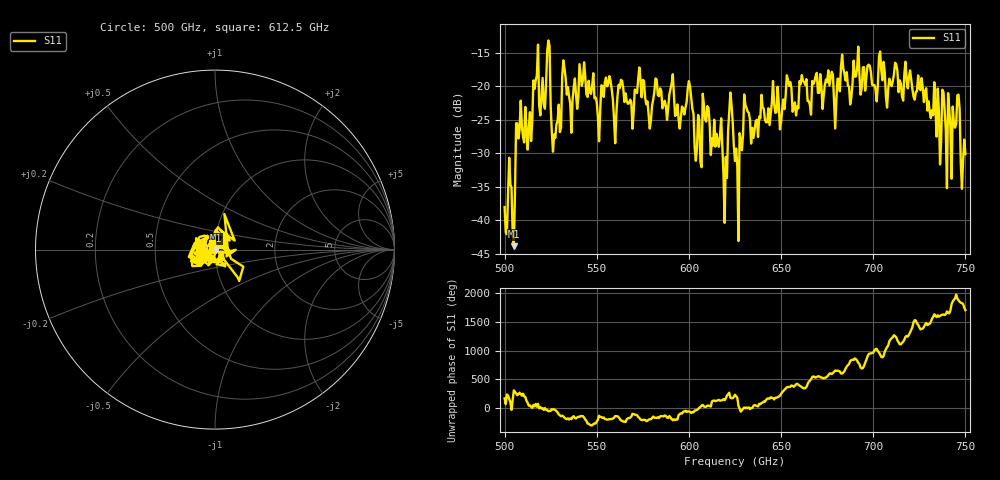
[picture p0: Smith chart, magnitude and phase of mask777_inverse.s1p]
!Created with skrf (http://scikit-rf.org).
# GHz S MA R 50.0
!freq magS11 angS11
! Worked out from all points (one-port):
!   401 points, 500 GHz to 750 GHz, reference 50 ohm
!   lowest |S11| = -43.9 dB at 505 GHz (marker M1), VSWR 1.01, Z = 50.4 - j0.494 ohm
!   |S11| at or under -10 dB: start of sweep to end of sweep
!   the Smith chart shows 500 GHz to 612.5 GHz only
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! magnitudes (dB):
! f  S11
! 500 GHz  -38.0
! 505 GHz  -43.9
! 507.5 GHz  -27.8
! 513.8 GHz  -23.9
! 516.9 GHz  -19.1
! 520.6 GHz  -18.7
! 523.8 GHz  -13.1
! 526.9 GHz  -27.2
! 531.2 GHz  -18.5
! 550.6 GHz  -24.7
! 556.2 GHz  -19.6
! 560 GHz  -28.5
! 562.5 GHz  -20.2
! 593.8 GHz  -22.7
! 600.6 GHz  -20.0
! 605.6 GHz  -25.0
! 608.8 GHz  -24.9
! 619.4 GHz  -40.4
! 622.5 GHz  -20.9
! 625 GHz  -31.1
! 627.5 GHz  -27.0
! 631.2 GHz  -23.2
! 656.2 GHz  -23.8
! 687.5 GHz  -22.7
! 718.8 GHz  -20.3
! 741.2 GHz  -23.4
! 745.6 GHz  -21.3
! 750 GHz  -30.1
